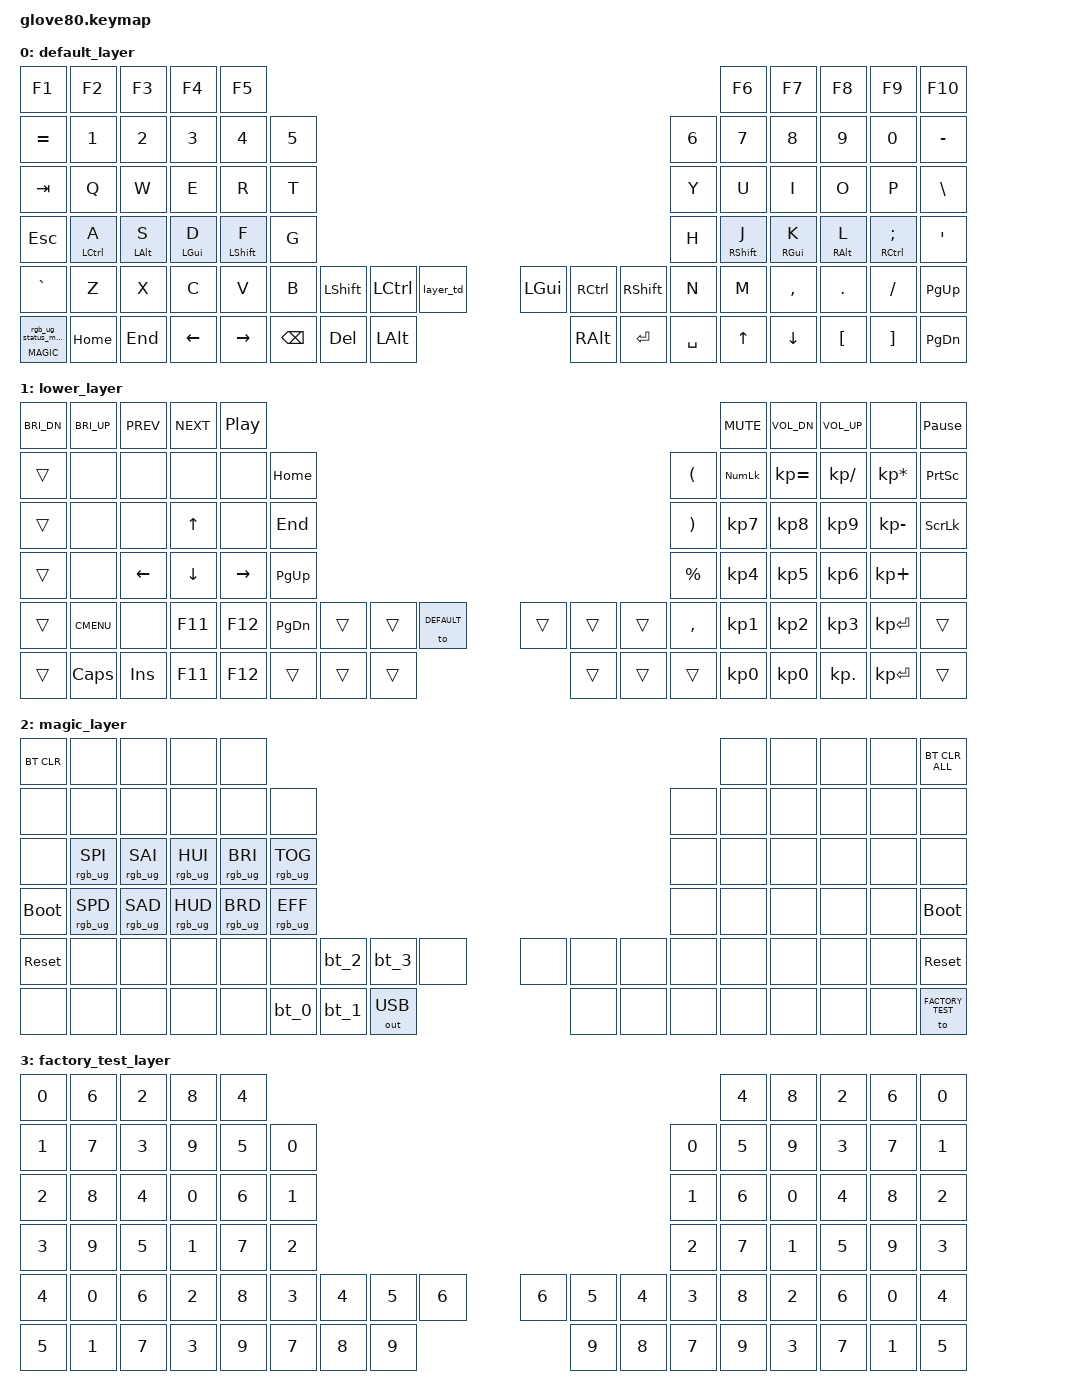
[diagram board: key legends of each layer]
/*
 * Copyright (c) 2020 The ZMK Contributors
 *
 * SPDX-License-Identifier: MIT
 */

#include <behaviors.dtsi>
#include <dt-bindings/zmk/keys.h>
#include <dt-bindings/zmk/bt.h>
#include <dt-bindings/zmk/ext_power.h>
#include <dt-bindings/zmk/outputs.h>
#include <dt-bindings/zmk/rgb.h>

#define HYPER LC(LS(LG(LALT)))

// layers
#define DEFAULT 0
#define LOWER 1
#define MAGIC 2
#define FACTORY_TEST 3
#define KEYS_LEFT 0 1 2 3 4 5 \
                  11 12 13 14 15 16 \
                  23 24 25 26 27 28 \
                  35 36 37 38 39 40 \
                  47 48 49 50 51 52 53 54 55 \
                  65 66 67 68 69 70 71 72

#define KEYS_RIGHT 6 7 8 9 10 \
                   17 18 19 20 21 22 \
                   29 39 31 32 33 34 \
                   41 42 43 44 45 46 \
                   56 57 58 59 60 61 62 63 64 \
                   73 74 75 76 77 78 79 80

/ {
    behaviors {
        // For the "layer" key, it'd nice to be able to use it as either a shift or a toggle.
        // Configure it as a tap dance, so the first tap (or hold) is a &mo and the second tap is a &to
        layer_td: tap_dance_0 {
            compatible = "zmk,behavior-tap-dance";
            label = "LAYER_TAP_DANCE";
            #binding-cells = <0>;
            tapping-term-ms = <200>;
            bindings = <&mo LOWER>, <&to LOWER>;
        };

        magic: magic_hold_tap {
            compatible = "zmk,behavior-hold-tap";
            label = "MAGIC_HOLD_TAP";
            #binding-cells = <2>;
            flavor = "tap-preferred";
            tapping-term-ms = <200>;
            bindings = <&mo>, <&rgb_ug_status_macro>;
        };

        hm_l: homerow_mods_left {
            compatible = "zmk,behavior-hold-tap";
            label = "HOMEROW_MODS_LEFT";
            #binding-cells = <2>;
            tapping-term-ms = <280>;
            quick_tap_ms = <175>;
            require-prior-idle-ms = <150>;
            flavor = "balanced";
            bindings = <&kp>, <&kp>;
            hold-trigger-key-positions = <KEYS_RIGHT>;
            hold-trigger-on-release;
        };
    
        hm_r: homerow_mods_right {
            compatible = "zmk,behavior-hold-tap";
            label = "HOMEROW_MODS_RIGHT";
            #binding-cells = <2>;
            tapping-term-ms = <280>;
            quick_tap_ms = <175>;
            require-prior-idle-ms = <150>;
            flavor = "balanced";
            bindings = <&kp>, <&kp>;
            hold-trigger-key-positions = <KEYS_LEFT>;
            hold-trigger-on-release;
        };
    };

    macros {
        rgb_ug_status_macro: rgb_ug_status_macro_0 {
            label = "RGB_UG_STATUS";
            compatible = "zmk,behavior-macro";
            #binding-cells = <0>;
            bindings
                = <&rgb_ug RGB_STATUS>;
        };

        bt_0: bt_profile_macro_0 {
            label = "BT_0";
            compatible = "zmk,behavior-macro";
            #binding-cells = <0>;
            bindings
                = <&out OUT_BLE>,
                  <&bt BT_SEL 0>;
        };

        bt_1: bt_profile_macro_1 {
            label = "BT_1";
            compatible = "zmk,behavior-macro";
            #binding-cells = <0>;
            bindings
                = <&out OUT_BLE>,
                  <&bt BT_SEL 1>;
        };

        bt_2: bt_profile_macro_2 {
            label = "BT_2";
            compatible = "zmk,behavior-macro";
            #binding-cells = <0>;
            bindings
                = <&out OUT_BLE>,
                  <&bt BT_SEL 2>;
        };

        bt_3: bt_profile_macro_3 {
            label = "BT_3";
            compatible = "zmk,behavior-macro";
            #binding-cells = <0>;
            bindings
                = <&out OUT_BLE>,
                  <&bt BT_SEL 3>;
        };


    };

    keymap {
        compatible = "zmk,keymap";

        default_layer {
            // ---------------------------------------------------------------------------------------------------------------------------------
            // |  F1   |  F2 |  F3 |  F4  |  F5  |                                                               |  F6   |  F7   |  F8  |   F9  |  F10 |
            // |  =    |  1  |  2  |  3   |  4   |  5   |                                                 |  6   |   7   |   8   |  9   |   0   |   -  |
            // |  TAB  |  Q  |  W  |  E   |  R   |  T   |                                                 |  Y   |   U   |   I   |  O   |   P   |   \  |
            // |  ESC  |  A  |  S  |  D   |  F   |  G   |                                                 |  H   |   J   |   K   |  L   |   ;   |   '  |
            // |   `   |  Z  |  X  |  C   |  V   |  B   | LSHFT | LCTRL | LOWER | | LGUI  | RCTRL | RSHFT |  N   |   M   |   ,   |  .   |   /   | PGUP |
            // | MAGIC | HOME| END | LEFT | RIGHT|      | BSPC  | DEL   | LALT  | | RALT  | RET   | SPACE |      |  UP   | DOWN  |  [   |   ]   | PGDN |

            bindings = <
            &kp F1         &kp F2   &kp F3      &kp F4      &kp F5                                                                                         &kp F6  &kp F7      &kp F8      &kp F9      &kp F10
            &kp EQUAL      &kp N1   &kp N2      &kp N3      &kp N4      &kp N5                                                                     &kp N6  &kp N7  &kp N8      &kp N9      &kp N0      &kp MINUS
            &kp TAB        &kp Q    &kp W       &kp E       &kp R       &kp T                                                                      &kp Y   &kp U   &kp I       &kp O       &kp P       &kp BSLH
            &kp ESC        &hm_l LCTRL A  &hm_l LALT S  &hm_l LGUI D  &hm_l LSHIFT F       &kp G                                                                      &kp H   &hm_r RSHIFT J  &hm_r RGUI K  &hm_r RALT L  &hm_r RCTRL SEMI    &kp SQT
            &kp GRAVE      &kp Z    &kp X       &kp C       &kp V       &kp B   &kp LSHFT   &kp LCTRL   &layer_td  &kp LGUI  &kp RCTRL &kp RSHFT   &kp N   &kp M   &kp COMMA   &kp DOT     &kp FSLH    &kp PG_UP
            &magic MAGIC 0 &kp HOME &kp END     &kp LEFT    &kp RIGHT           &kp BSPC    &kp DEL     &kp LALT   &kp RALT  &kp RET   &kp SPACE           &kp UP  &kp DOWN    &kp LBKT    &kp RBKT    &kp PG_DN
            >;
        };

        lower_layer {
            bindings = <
            &kp C_BRI_DN      &kp C_BRI_UP        &kp C_PREV      &kp C_NEXT      &kp C_PP                                                                                                           &kp C_MUTE   &kp C_VOL_DN &kp C_VOL_UP  &none           &kp PAUSE_BREAK
            &trans            &none               &none           &none           &none           &kp HOME                                                                              &kp LPAR     &kp KP_NUM   &kp KP_EQUAL &kp KP_DIVIDE &kp KP_MULTIPLY &kp PSCRN
            &trans            &none               &none           &kp UP          &none           &kp END                                                                               &kp RPAR     &kp KP_N7    &kp KP_N8    &kp KP_N9     &kp KP_MINUS    &kp SLCK
            &trans            &none               &kp LEFT        &kp DOWN        &kp RIGHT       &kp PG_UP                                                                             &kp PRCNT    &kp KP_N4    &kp KP_N5    &kp KP_N6     &kp KP_PLUS     &none
            &trans            &kp K_CMENU         &none           &kp F11         &kp F12         &kp PG_DN       &trans      &trans      &to DEFAULT &trans      &trans      &trans    &kp COMMA    &kp KP_N1    &kp KP_N2    &kp KP_N3     &kp KP_ENTER    &trans
            &trans            &kp CAPS            &kp INS         &kp F11         &kp F12                         &trans      &trans      &trans      &trans      &trans      &trans                 &kp KP_N0    &kp KP_N0    &kp KP_DOT    &kp KP_ENTER    &trans
            >;
        };

        magic_layer {
            bindings = <
            &bt BT_CLR        &none               &none           &none           &none                                                                                                           &none      &none      &none      &none      &bt BT_CLR_ALL
            &none             &none               &none           &none           &none           &none                                                                                &none      &none      &none      &none      &none      &none
            &none             &rgb_ug RGB_SPI     &rgb_ug RGB_SAI &rgb_ug RGB_HUI &rgb_ug RGB_BRI &rgb_ug RGB_TOG                                                                      &none      &none      &none      &none      &none      &none
            &bootloader       &rgb_ug RGB_SPD     &rgb_ug RGB_SAD &rgb_ug RGB_HUD &rgb_ug RGB_BRD &rgb_ug RGB_EFF                                                                      &none      &none      &none      &none      &none      &bootloader
            &sys_reset        &none               &none           &none           &none           &none           &bt_2     &bt_3     &none            &none     &none     &none       &none      &none      &none      &none      &none      &sys_reset
            &none             &none               &none           &none           &none                           &bt_0     &bt_1     &out OUT_USB     &none     &none     &none                  &none      &none      &none      &none      &to FACTORY_TEST
            >;
        };

        factory_test_layer {
            bindings = <
            &kp N0   &kp N6   &kp N2   &kp N8   &kp N4                                                                              &kp N4   &kp N8   &kp N2   &kp N6   &kp N0
            &kp N1   &kp N7   &kp N3   &kp N9   &kp N5   &kp N0                                                            &kp N0   &kp N5   &kp N9   &kp N3   &kp N7   &kp N1
            &kp N2   &kp N8   &kp N4   &kp N0   &kp N6   &kp N1                                                            &kp N1   &kp N6   &kp N0   &kp N4   &kp N8   &kp N2
            &kp N3   &kp N9   &kp N5   &kp N1   &kp N7   &kp N2                                                            &kp N2   &kp N7   &kp N1   &kp N5   &kp N9   &kp N3
            &kp N4   &kp N0   &kp N6   &kp N2   &kp N8   &kp N3   &kp N4   &kp N5   &kp N6      &kp N6   &kp N5   &kp N4   &kp N3   &kp N8   &kp N2   &kp N6   &kp N0   &kp N4
            &kp N5   &kp N1   &kp N7   &kp N3   &kp N9            &kp N7   &kp N8   &kp N9      &kp N9   &kp N8   &kp N7            &kp N9   &kp N3   &kp N7   &kp N1   &kp N5
            >;
        };
    };
};
